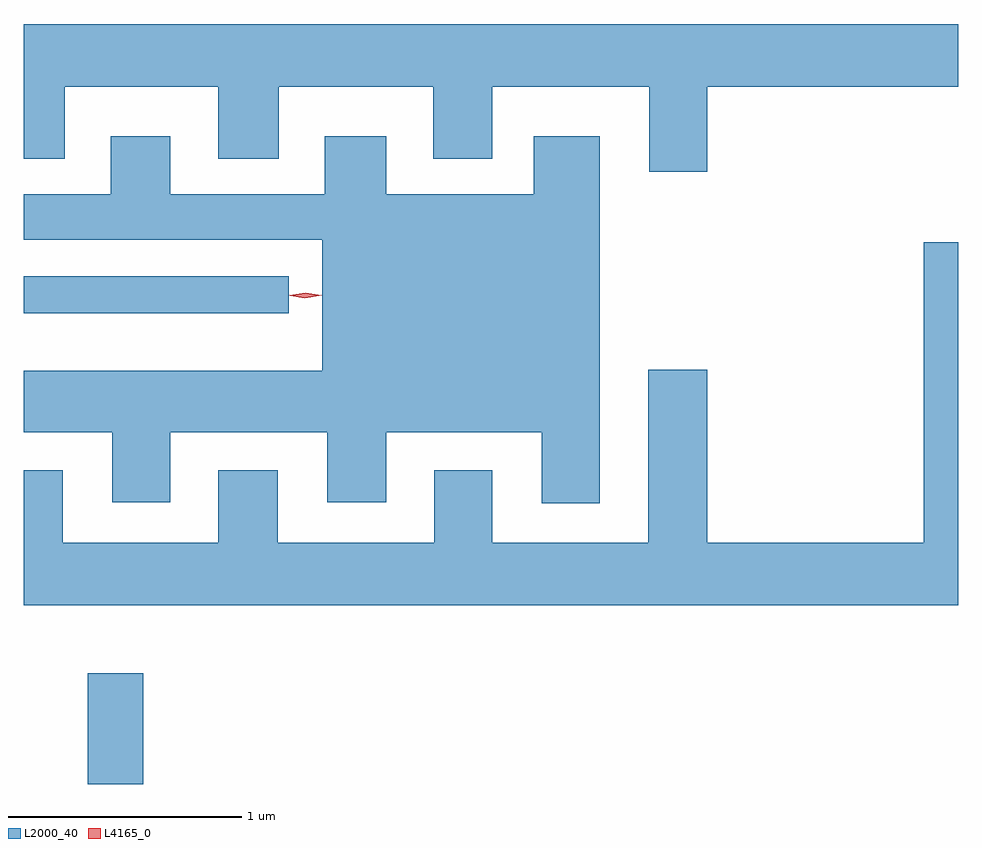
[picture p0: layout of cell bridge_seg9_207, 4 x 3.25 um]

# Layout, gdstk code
import gdstk
lib = gdstk.Library(unit=1e-6, precision=1e-09)
def R(c, l, rs):  # rectangles x0, y0, x1, y1
    for r in rs: c.add(gdstk.rectangle(r[:2], r[2:], *l))
def P(c, l, *ps):  # polygons
    for p in ps: c.add(gdstk.Polygon(p, *l))
L2000_40 = (2000, 40)
L4165_0 = (4165, 0)

bridge_seg9_207 = lib.new_cell('bridge_seg9_207')
R(bridge_seg9_207, L2000_40, [(1268.276,1966.63,1268.514,1967.104), (1268.003,1968.646,1269.138,1968.804)])
P(bridge_seg9_207, L2000_40, [(1270.929,1969.616),(1272.003,1969.616),(1272.003,1969.884),(1268.003,1969.884),(1268.003,1969.306),(1268.179,1969.306),(1268.179,1969.616),(1268.836,1969.616),(1268.836,1969.306),(1269.094,1969.306),(1269.094,1969.616),(1269.756,1969.616),(1269.756,1969.306),(1270.009,1969.306),(1270.009,1969.616),(1270.681,1969.616),(1270.681,1969.251),(1270.929,1969.251)],
  [(1270.469,1969.404),(1270.186,1969.404),(1270.186,1969.154),(1269.554,1969.154),(1269.554,1969.404),(1269.291,1969.404),(1269.291,1969.154),(1268.629,1969.154),(1268.629,1969.404),(1268.376,1969.404),(1268.376,1969.154),(1268.003,1969.154),(1268.003,1968.961),(1269.281,1968.961),(1269.281,1968.399),(1268.003,1968.399),(1268.003,1968.136),(1268.381,1968.136),(1268.381,1967.836),(1268.629,1967.836),(1268.629,1968.136),(1269.301,1968.136),(1269.301,1967.836),(1269.554,1967.836),(1269.554,1968.136),(1270.221,1968.136),(1270.221,1967.831),(1270.469,1967.831)],
  [(1272.003,1968.949),(1271.856,1968.949),(1271.856,1967.664),(1270.929,1967.664),(1270.929,1968.404),(1270.676,1968.404),(1270.676,1967.664),(1270.009,1967.664),(1270.009,1967.974),(1269.761,1967.974),(1269.761,1967.664),(1269.089,1967.664),(1269.089,1967.974),(1268.836,1967.974),(1268.836,1967.664),(1268.169,1967.664),(1268.169,1967.974),(1268.003,1967.974),(1268.003,1967.396),(1272.003,1967.396)])
P(bridge_seg9_207, L4165_0, [(1269.206,1968.71),(1269.144,1968.72),(1269.143,1968.72),(1269.144,1968.721),(1269.206,1968.73),(1269.267,1968.721),(1269.268,1968.72),(1269.267,1968.72)],
  [(1269.209,1968.713),(1269.14,1968.722),(1269.139,1968.723),(1269.14,1968.723),(1269.209,1968.733),(1269.277,1968.723),(1269.278,1968.723),(1269.277,1968.722)])

lib.write_gds('bridge_seg9_207.gds')
